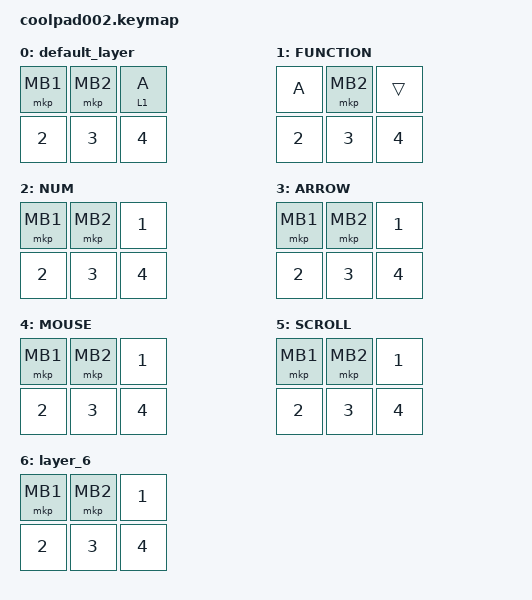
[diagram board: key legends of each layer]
// #define ZMK_POINTING_DEFAULT_MOVE_VAL 800 
// #define ZMK_POINTING_DEFAULT_SCRL_VAL 120

#include <behaviors.dtsi>
#include <dt-bindings/zmk/keys.h>
#include <dt-bindings/zmk/pointing.h>

#define MOUSE 4
#define SCROLL 5
#define NUM 6

&mt {
    flavor = "balanced";
    quick-tap-ms = <0>;
};

/ {
    combos {
        compatible = "zmk,combos";

        tab {
            bindings = <&mo 1>;
            key-positions = <11 12 0 1>;
            layers = <0 4>;
        };

        shift_tab {
            bindings = <&mo 0>;
            key-positions = <12 13 0 1>;
            require-prior-idle-ms = <0>;
            layers = <1>;
        };

        muhennkann {
            bindings = <&to_layer_0 INT_MUHENKAN>;
            key-positions = <11 10>;
        };

        double_quotation {
            bindings = <&kp DOUBLE_QUOTES>;
            key-positions = <20 21>;
        };

        eq {
            bindings = <&kp EQUAL>;
            key-positions = <24 25>;
        };
    };

    macros {
        to_layer_0: to_layer_0 {
            compatible = "zmk,behavior-macro-one-param";
            #binding-cells = <1>;
            bindings = <&to 0 &macro_param_1to1 &kp MACRO_PLACEHOLDER>;
            label = "TO_LAYER_0";
        };
    };

    behaviors {
        lt_to_layer_0: lt_to_layer_0 {
            compatible = "zmk,behavior-hold-tap";
            label = "LAYER_TAP_TO_0";
            bindings = <&mo>, <&to_layer_0>;

            #binding-cells = <2>;
            tapping-term-ms = <200>;
        };
    };

    keymap {
        compatible = "zmk,keymap";

        default_layer {
            bindings = <
&mkp MB1  &mkp MB2  &lt 1 A
&kp N2    &kp N3    &kp N4
            >;
        };

        FUNCTION {
            bindings = <
&kp A   &mkp MB2  &trans
&kp N2  &kp N3    &kp N4
            >;
        };

        NUM {
            bindings = <
&mkp MB1  &mkp MB2  &kp N1
&kp N2    &kp N3    &kp N4
            >;
        };

        ARROW {
            bindings = <
&mkp MB1  &mkp MB2  &kp N1
&kp N2    &kp N3    &kp N4
            >;
        };

        MOUSE {
            bindings = <
&mkp MB1  &mkp MB2  &kp N1
&kp N2    &kp N3    &kp N4
            >;
        };

        SCROLL {
            bindings = <
&mkp MB1  &mkp MB2  &kp N1
&kp N2    &kp N3    &kp N4
            >;
        };

        layer_6 {
            bindings = <
&mkp MB1  &mkp MB2  &kp N1
&kp N2    &kp N3    &kp N4
            >;
        };
    };
};
